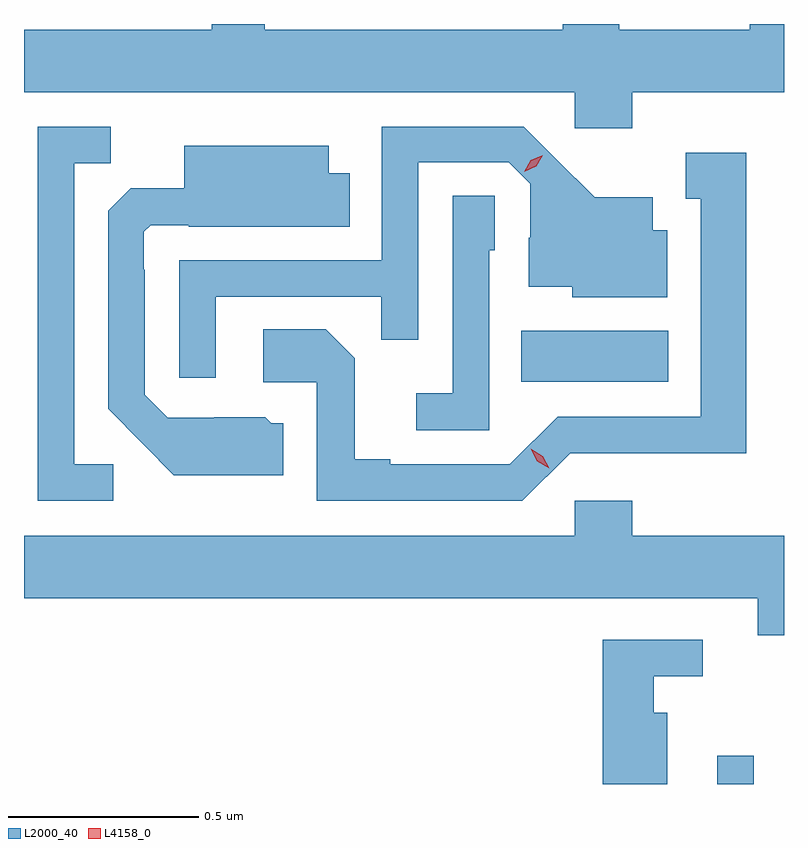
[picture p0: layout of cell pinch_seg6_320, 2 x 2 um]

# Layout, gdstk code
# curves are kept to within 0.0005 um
import gdstk
lib = gdstk.Library(unit=1e-6, precision=1e-09)
def R(c, l, rs):  # rectangles x0, y0, x1, y1
    for r in rs: c.add(gdstk.rectangle(r[:2], r[2:], *l))
def P(c, l, *ps):  # polygons
    for p in ps: c.add(gdstk.Polygon(p, *l))
L2000_40 = (2000, 40)
L4158_0 = (4158, 0)

pinch_seg6_320 = lib.new_cell('pinch_seg6_320')
R(pinch_seg6_320, L2000_40, [(641.157,962.831,641.253,962.905), (640.642,963.89,641.029,964.024)])
P(pinch_seg6_320, L2000_40, [(640.934,964.652),(641.333,964.652),(641.333,964.831),(641.243,964.831),(641.243,964.816),(640.899,964.816),(640.899,964.831),(640.751,964.831),(640.751,964.816),(639.967,964.816),(639.967,964.831),(639.827,964.831),(639.827,964.816),(639.333,964.816),(639.333,964.652),(640.782,964.652),(640.782,964.557),(640.934,964.557)],
  [(639.568,963.672),(639.465,963.672),(639.465,964.465),(639.561,964.465),(639.561,964.56),(639.369,964.56),(639.369,963.576),(639.568,963.576)],
  [(639.837,964.113),(640.273,964.113),(640.273,964),(640.371,964),(640.371,964.467),(640.608,964.467),(640.665,964.41),(640.665,964.268),(640.661,964.268),(640.661,964.139),(640.776,964.139),(640.776,964.112),(641.026,964.112),(641.026,964.288),(640.987,964.288),(640.987,964.375),(640.835,964.375),(640.648,964.56),(640.275,964.56),(640.275,964.209),(639.741,964.209),(639.741,963.9),(639.837,963.9)],
  [(640.015,963.78),(639.984,963.78),(639.968,963.796),(639.834,963.796),(639.834,963.795),(639.711,963.795),(639.651,963.855),(639.651,964.184),(639.648,964.184),(639.648,964.284),(639.666,964.302),(639.766,964.302),(639.766,964.298),(640.19,964.298),(640.19,964.438),(640.135,964.438),(640.135,964.51),(639.755,964.51),(639.755,964.399),(639.614,964.399),(639.555,964.34),(639.555,963.818),(639.727,963.644),(640.015,963.644)],
  [(640.77,963.702),(640.992,963.702),(640.992,963.701),(641.233,963.701),(641.233,964.492),(641.075,964.492),(641.075,964.371),(641.114,964.371),(641.114,963.798),(640.737,963.798),(640.611,963.672),(640.297,963.672),(640.297,963.685),(640.203,963.685),(640.203,963.952),(640.127,964.028),(639.963,964.028),(639.963,963.888),(640.104,963.888),(640.104,963.576),(640.644,963.576)],
  [(640.557,964.236),(640.572,964.236),(640.572,964.379),(640.461,964.379),(640.461,963.859),(640.365,963.859),(640.365,963.762),(640.557,963.762)],
  [(641.333,963.484),(640.934,963.484),(640.934,963.577),(640.782,963.577),(640.782,963.484),(639.333,963.484),(639.333,963.32),(641.264,963.32),(641.264,963.222),(641.333,963.222)],
  [(641.026,963.019),(640.99,963.019),(640.99,963.114),(641.119,963.114),(641.119,963.21),(640.856,963.21),(640.856,962.831),(641.026,962.831)])
P(pinch_seg6_320, L4158_0, [(640.715,963.662),(640.683,963.681),(640.666,963.713),(640.666,963.713),(640.666,963.713),(640.698,963.694),(640.715,963.662),(640.715,963.662)],
  [(640.649,964.442),(640.649,964.442),(640.667,964.472),(640.698,964.486),(640.698,964.486),(640.698,964.486),(640.681,964.457),(640.65,964.442)])

lib.write_gds('pinch_seg6_320.gds')
